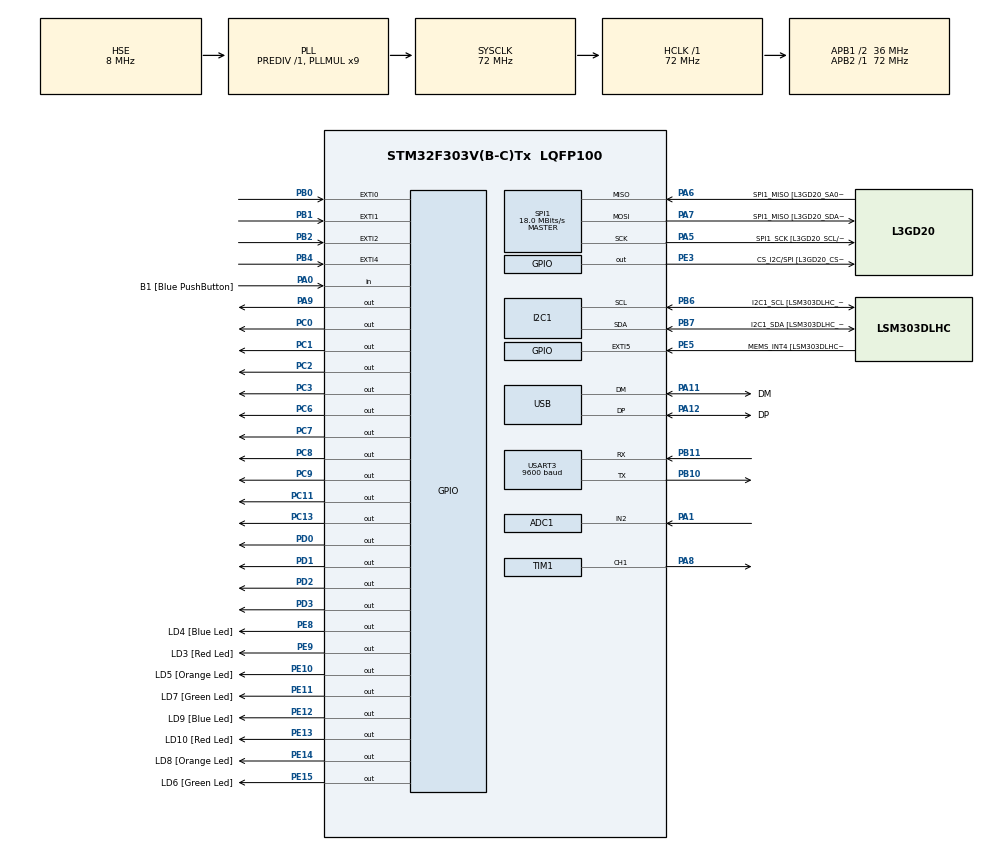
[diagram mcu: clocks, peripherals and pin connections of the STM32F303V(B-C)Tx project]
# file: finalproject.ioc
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ADC1.Channel-0\#ChannelRegularConversion=ADC_CHANNEL_2
ADC1.NbrOfConversionFlag=1
ADC1.Offset-0\#ChannelRegularConversion=0
ADC1.OffsetNumber-0\#ChannelRegularConversion=ADC_OFFSET_NONE
ADC1.Rank-0\#ChannelRegularConversion=1
ADC1.Resolution=ADC_RESOLUTION_6B
ADC1.SamplingTime-0\#ChannelRegularConversion=ADC_SAMPLETIME_601CYCLES_5
ADC1.SamplingTimeOPAMP-0\#ChannelRegularConversion=ADC_SAMPLETIME_19CYCLES_5
ADC1.master=1
I2C1.Timing-I2C=0x2000090E
Mcu.Family=STM32F3
Mcu.Name=STM32F303V(B-C)Tx
Mcu.Package=LQFP100
NVIC.ADC1_2_IRQn=true\:1\:0\:true\:false\:true\:true\:true
NVIC.EXTI0_IRQn=true\:1\:0\:true\:false\:true\:true\:true
NVIC.EXTI1_IRQn=true\:1\:0\:true\:false\:true\:true\:true
NVIC.EXTI4_IRQn=true\:1\:0\:true\:false\:true\:true\:true
NVIC.PriorityGroup=NVIC_PRIORITYGROUP_1
NVIC.TIM2_IRQn=true\:1\:0\:true\:false\:true\:true\:true
NVIC.TIM3_IRQn=true\:1\:0\:true\:false\:true\:true\:true
NVIC.TIM4_IRQn=true\:1\:0\:true\:false\:true\:true\:true
NVIC.USART3_IRQn=true\:1\:0\:true\:false\:true\:true\:true
PA0.GPIO_Label=B1 [Blue PushButton]
PA0.Signal=GPIO_Input
PA1.Mode=IN2-Single-Ended
PA1.Signal=ADC1_IN2
PA11.GPIO_Label=DM
PA11.Mode=Device
PA11.Signal=USB_DM
PA12.GPIO_Label=DP
PA12.Mode=Device
PA12.Signal=USB_DP
PA13.GPIO_Label=SWDIO
PA13.Mode=Serial_Wire
PA13.Signal=SYS_JTMS-SWDIO
PA14.GPIO_Label=SWCLK
PA14.Mode=Serial_Wire
PA14.Signal=SYS_JTCK-SWCLK
PA5.GPIO_Label=SPI1_SCK [L3GD20_SCL/SPC]
PA5.Mode=Full_Duplex_Master
PA5.Signal=SPI1_SCK
PA6.GPIO_Label=SPI1_MISO [L3GD20_SA0/SDO]
PA6.Mode=Full_Duplex_Master
PA6.Signal=SPI1_MISO
PA7.GPIO_Label=SPI1_MISO [L3GD20_SDA/SDI/SDO]
PA7.Mode=Full_Duplex_Master
PA7.Signal=SPI1_MOSI
PA8.Signal=S_TIM1_CH1
PA9.Signal=GPIO_Output
PB0.GPIO_PuPd=GPIO_PULLDOWN
PB0.Signal=GPXTI0
PB1.GPIO_PuPd=GPIO_PULLDOWN
PB1.Signal=GPXTI1
PB10.Mode=Asynchronous
PB10.Signal=USART3_TX
PB11.Mode=Asynchronous
PB11.Signal=USART3_RX
PB2.GPIO_PuPd=GPIO_PULLDOWN
PB2.Signal=GPXTI2
PB3.GPIO_Label=SWO
PB3.Signal=SYS_JTDO-TRACESWO
PB4.GPIO_PuPd=GPIO_PULLDOWN
PB4.Signal=GPXTI4
PB6.GPIO_Label=I2C1_SCL [LSM303DLHC_SCL]
PB6.GPIO_Pu=GPIO_PULLUP
PB6.Mode=I2C
PB6.Signal=I2C1_SCL
PB7.GPIO_Label=I2C1_SDA [LSM303DLHC_SDA]
PB7.GPIO_Pu=GPIO_PULLUP
PB7.Mode=I2C
PB7.Signal=I2C1_SDA
PC0.Signal=GPIO_Output
PC1.Signal=GPIO_Output
PC11.Signal=GPIO_Output
PC13.Signal=GPIO_Output
PC14-OSC32_IN.GPIO_Label=OSC32_IN
PC14-OSC32_IN.Signal=RCC_OSC32_IN
PC15-OSC32_OUT.GPIO_Label=OSC32_OUT
PC15-OSC32_OUT.Signal=RCC_OSC32_OUT
PC2.Signal=GPIO_Output
PC3.Signal=GPIO_Output
PC6.Signal=GPIO_Output
PC7.Signal=GPIO_Output
PC8.Signal=GPIO_Output
PC9.Signal=GPIO_Output
PD0.Signal=GPIO_Output
PD1.Signal=GPIO_Output
PD2.Signal=GPIO_Output
PD3.Signal=GPIO_Output
PE10.GPIO_Label=LD5 [Orange Led]
PE10.Signal=GPIO_Output
PE11.GPIO_Label=LD7 [Green Led]
PE11.Signal=GPIO_Output
PE12.GPIO_Label=LD9 [Blue Led]
PE12.Signal=GPIO_Output
PE13.GPIO_Label=LD10 [Red Led]
PE13.Signal=GPIO_Output
PE14.GPIO_Label=LD8 [Orange Led]
PE14.Signal=GPIO_Output
PE15.GPIO_Label=LD6 [Green Led]
PE15.Signal=GPIO_Output
PE3.GPIO_Label=CS_I2C/SPI [L3GD20_CS_I2C/SPI]
PE3.Signal=GPIO_Output
PE5.GPIO_Label=MEMS_INT4 [LSM303DLHC_INT2]
PE5.GPIO_ModeDefaultEXTI=GPIO_MODE_EVT_RISING
PE5.Signal=GPXTI5
PE8.GPIO_Label=LD4 [Blue Led]
PE8.Signal=GPIO_Output
PE9.GPIO_Label=LD3 [Red Led]
PE9.Signal=GPIO_Output
PF0-OSC_IN.GPIO_Label=OSC_IN
PF0-OSC_IN.Mode=HSE-External-Clock-Source
PF0-OSC_IN.Signal=RCC_OSC_IN
PF1-OSC_OUT.GPIO_Label=OSC_OUT
PF1-OSC_OUT.Signal=RCC_OSC_OUT
ProjectManager.HeapSize=0x200
ProjectManager.StackSize=0x400
ProjectManager.TargetToolchain=STM32CubeIDE
RCC.AHBFreq_Value=72000000
RCC.APB1CLKDivider=RCC_HCLK_DIV2
RCC.APB1Freq_Value=36000000
RCC.APB1TimFreq_Value=72000000
RCC.APB2Freq_Value=72000000
RCC.APB2TimFreq_Value=72000000
RCC.CortexFreq_Value=72000000
RCC.HCLKFreq_Value=72000000
RCC.HSE_VALUE=8000000
RCC.HSI_VALUE=8000000
RCC.LSE_VALUE=32768
RCC.PLLMUL=RCC_PLL_MUL9
RCC.PRESCALERUSB=RCC_USBCLKSOURCE_PLL_DIV1_5
RCC.SYSCLKFreq_VALUE=72000000
RCC.SYSCLKSourceVirtual=RCC_SYSCLKSOURCE_PLLCLK
RCC.USBFreq_Value=48000000
SH.S_TIM1_CH1.0=TIM1_CH1,PWM Generation1 CH1
SPI1.BaudRatePrescaler=SPI_BAUDRATEPRESCALER_4
SPI1.BaudRatePrescaler-Full_Duplex_Master=SPI_BAUDRATEPRESCALER_2
SPI1.CalculateBaudRate=18.0 MBits/s
SPI1.CalculateBaudRate-Full_Duplex_Master=24.0 MBits/s
SPI1.Direction=SPI_DIRECTION_2LINES
SPI1.Mode=SPI_MODE_MASTER
SPI1.Mode-Full_Duplex_Master=SPI_MODE_MASTER
SPI1.VirtualType=VM_MASTER
TIM1.Channel-PWM\ Generation1\ CH1=TIM_CHANNEL_1
TIM1.Period=99
TIM1.Prescaler=7199
TIM2.Period=999
TIM2.Prescaler=287
TIM3.Period=9999
TIM3.Prescaler=7199
TIM4.Period=9999
TIM4.Prescaler=7199
USART3.BaudRate=9600
USART3.VirtualMode-Asynchronous=VM_ASYNC
VP_TIM1_VS_ClockSourceINT.Mode=Internal
VP_TIM2_VS_ClockSourceINT.Mode=Internal
VP_TIM3_VS_ClockSourceINT.Mode=Internal
VP_TIM4_VS_ClockSourceINT.Mode=Internal
board=STM32F3DISCOVERY

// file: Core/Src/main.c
/* USER CODE BEGIN Header */
/**
  ******************************************************************************
  * @file           : main.c
  * @brief          : Main program body
  ******************************************************************************
  * @attention
  *
  * <h2><center>&copy; Copyright (c) 2022 STMicroelectronics.
  * All rights reserved.</center></h2>
  *
  * This software component is licensed by ST under BSD 3-Clause license,
  * the "License"; You may not use this file except in compliance with the
  * License. You may obtain a copy of the License at:
  *                        opensource.org/licenses/BSD-3-Clause
  *
  ******************************************************************************
  */
/* USER CODE END Header */
#include "main.h"

/* USER CODE BEGIN Includes */

#include "OthelloLib.h"
#include "LiquidCrystal.h"
#include "stm32f3xx_it.h"

/* USER CODE END Includes */

ADC_HandleTypeDef hadc1;

I2C_HandleTypeDef hi2c1;

SPI_HandleTypeDef hspi1;

TIM_HandleTypeDef htim1;
TIM_HandleTypeDef htim2;
TIM_HandleTypeDef htim3;
TIM_HandleTypeDef htim4;

UART_HandleTypeDef huart3;

PCD_HandleTypeDef hpcd_USB_FS;

/* USER CODE BEGIN PV */

int state = 0;
int last_push = 0;
int board[8][8];
//2 stands for black, 1 for white
int turn = 2;
int pointer_row = 3;
int pointer_col = 3;
char curr_position[2];

/* USER CODE END PV */

void SystemClock_Config(void);
static void MX_GPIO_Init(void);
static void MX_I2C1_Init(void);
static void MX_SPI1_Init(void);
static void MX_USB_PCD_Init(void);
static void MX_ADC1_Init(void);
static void MX_TIM1_Init(void);
static void MX_TIM2_Init(void);
static void MX_TIM4_Init(void);
static void MX_USART3_UART_Init(void);
static void MX_TIM3_Init(void);

/* USER CODE BEGIN 0 */

extern int time_limit;
extern int remaining_time;
extern unsigned char move_command[4];
typedef unsigned char byte;

byte white_white[] = {
  0x04,
  0x0A,
  0x11,
  0x0E,
  0x04,
  0x0A,
  0x11,
  0x0E
};

byte white_black[] = {
  0x04,
  0x0A,
  0x11,
  0x0E,
  0x04,
  0x0E,
  0x1F,
  0x0E
};

byte black_black[] = {
  0x04,
  0x0E,
  0x1F,
  0x0E,
  0x04,
  0x0E,
  0x1F,
  0x0E
};

byte black_white[] = {
  0x04,
  0x0E,
  0x1F,
  0x0E,
  0x04,
  0x0A,
  0x11,
  0x0E
};

byte black_blank[] = {
  0x04,
  0x0E,
  0x1F,
  0x0E,
  0x00,
  0x00,
  0x00,
  0x00
};

byte blank_black[] = {
  0x00,
  0x00,
  0x00,
  0x00,
  0x04,
  0x0E,
  0x1F,
  0x0E
};

byte white_blank[] = {
  0x04,
  0x0A,
  0x11,
  0x0E,
  0x00,
  0x00,
  0x00,
  0x00
};

byte blank_white[] = {
  0x00,
  0x00,
  0x00,
  0x00,
  0x04,
  0x0A,
  0x11,
  0x0E
};

void HAL_GPIO_EXTI_Callback(uint16_t GPIO_Pin){

	if(HAL_GetTick()<last_push+200){
	  	  return;
	}

	last_push = HAL_GetTick();

	setCursor(0, 0);
	if(GPIO_Pin == GPIO_PIN_0){
		HAL_GPIO_WritePin(GPIOD, GPIO_PIN_3, GPIO_PIN_RESET);
		HAL_GPIO_WritePin(GPIOD, GPIO_PIN_2, GPIO_PIN_RESET);
		HAL_GPIO_WritePin(GPIOD, GPIO_PIN_1, GPIO_PIN_RESET);
		HAL_GPIO_WritePin(GPIOD, GPIO_PIN_0, GPIO_PIN_RESET);

		//Checking which row it was
		HAL_GPIO_WritePin(GPIOD, GPIO_PIN_3, GPIO_PIN_SET);
		//checking if number was 1
		if(HAL_GPIO_ReadPin(GPIOB, GPIO_PIN_0)){

			return;
		}

		HAL_GPIO_WritePin(GPIOD, GPIO_PIN_2, GPIO_PIN_SET);
		//checking if button was LEFT
		if(HAL_GPIO_ReadPin(GPIOB, GPIO_PIN_0)){

			if(state==0){

			}else if(state==1){

				if((pointer_col - 1)>=0){
					pointer_col--;
					curr_position[0] = col_num_to_letter(pointer_col);
					setCursor(4, 3);
					print(curr_position);
					char dat[10];
					sprintf(dat, "%d,%d",pointer_col, pointer_row);
					setCursor(0,3);
					print(dat);
				}

			}

			return;
		}

		HAL_GPIO_WritePin(GPIOD, GPIO_PIN_1, GPIO_PIN_SET);
		//checking if number was 7
		if(HAL_GPIO_ReadPin(GPIOB, GPIO_PIN_0)){

			return;
		}

		HAL_GPIO_WritePin(GPIOD, GPIO_PIN_0, GPIO_PIN_SET);
		//checking if number was *
		if(HAL_GPIO_ReadPin(GPIOB, GPIO_PIN_0)){

			if(state==0){
				state = 1;
				clear();
				init_map(board);
				//0 stands for empty cells, 1 for white cells and 2 for black cells.
				board[3][3] = 1;
				board[3][4] = 2;
				board[4][3] = 2;
				board[4][4] = 1;
				remaining_time = time_limit;
				HAL_TIM_Base_Start_IT(&htim4);
				HAL_UART_Receive_IT(&huart3, move_command, sizeof(unsigned char)*4);
			}

			return;
		}

	}else if(GPIO_Pin == GPIO_PIN_1){
		HAL_GPIO_WritePin(GPIOD, GPIO_PIN_3, GPIO_PIN_RESET);
		HAL_GPIO_WritePin(GPIOD, GPIO_PIN_2, GPIO_PIN_RESET);
		HAL_GPIO_WritePin(GPIOD, GPIO_PIN_1, GPIO_PIN_RESET);
		HAL_GPIO_WritePin(GPIOD, GPIO_PIN_0, GPIO_PIN_RESET);

		HAL_GPIO_WritePin(GPIOD, GPIO_PIN_3, GPIO_PIN_SET);
		//checking if button was UP
		if(HAL_GPIO_ReadPin(GPIOB, GPIO_PIN_1)){

			if(state==0){

			}else if(state==1){

				if((pointer_row - 1)>=0){
					pointer_row--;
					curr_position[1] = row_num_to_char(pointer_row);
					setCursor(4, 3);
					print(curr_position);
					char dat[10];
					sprintf(dat, "%d,%d",pointer_col, pointer_row);
					setCursor(0,3);
					print(dat);

				}

			}
			return;
		}

		HAL_GPIO_WritePin(GPIOD, GPIO_PIN_2, GPIO_PIN_SET);
		//checking if button was select
		if(HAL_GPIO_ReadPin(GPIOB, GPIO_PIN_1)){

			if(state==0){

			}else if(state==1){

				if(isValid(pointer_row, pointer_col, turn)){
					capture(pointer_row, pointer_col, turn);
					print_board();
					show_scores();
					if(switch_turns()){
						state = 3;
						game_over();
						return;
					}
					if(board_is_full()){
						state = 3;
						game_over();
						return;
					}
				}else{
					illegal_move_alert();
				}

			}

			return;
		}

		HAL_GPIO_WritePin(GPIOD, GPIO_PIN_1, GPIO_PIN_SET);
		//checking if button was DOWN
		if(HAL_GPIO_ReadPin(GPIOB, GPIO_PIN_1)){

			if(state==0){

			}else if(state==1){

				if((pointer_row + 1)<8){
					pointer_row++;
					curr_position[1] = row_num_to_char(pointer_row);
					setCursor(4, 3);
					print(curr_position);
					char dat[10];
					sprintf(dat, "%d,%d",pointer_col, pointer_row);
					setCursor(0,3);
					print(dat);
				}

			}

			return;
		}

		HAL_GPIO_WritePin(GPIOD, GPIO_PIN_0, GPIO_PIN_SET);
		//checking if number was 11
		if(HAL_GPIO_ReadPin(GPIOB, GPIO_PIN_1)){

			return;
		}

	}else if(GPIO_Pin == GPIO_PIN_2){
		HAL_GPIO_WritePin(GPIOD, GPIO_PIN_3, GPIO_PIN_RESET);
		HAL_GPIO_WritePin(GPIOD, GPIO_PIN_2, GPIO_PIN_RESET);
		HAL_GPIO_WritePin(GPIOD, GPIO_PIN_1, GPIO_PIN_RESET);
		HAL_GPIO_WritePin(GPIOD, GPIO_PIN_0, GPIO_PIN_RESET);

		HAL_GPIO_WritePin(GPIOD, GPIO_PIN_3, GPIO_PIN_SET);
		//checking if number was 3
		if(HAL_GPIO_ReadPin(GPIOB, GPIO_PIN_2)){

			return;
		}

		HAL_GPIO_WritePin(GPIOD, GPIO_PIN_2, GPIO_PIN_SET);
		//checking if button was 6
		if(HAL_GPIO_ReadPin(GPIOB, GPIO_PIN_2)){

			return;
		}

		HAL_GPIO_WritePin(GPIOD, GPIO_PIN_1, GPIO_PIN_SET);
		//checking if number was 9
		if(HAL_GPIO_ReadPin(GPIOB, GPIO_PIN_2)){

			return;
		}

		HAL_GPIO_WritePin(GPIOD, GPIO_PIN_0, GPIO_PIN_SET);
		//checking if number was 12
		if(HAL_GPIO_ReadPin(GPIOB, GPIO_PIN_2)){

			return;
		}

	}else if(GPIO_Pin == GPIO_PIN_4){
		HAL_GPIO_WritePin(GPIOD, GPIO_PIN_3, GPIO_PIN_RESET);
		HAL_GPIO_WritePin(GPIOD, GPIO_PIN_2, GPIO_PIN_RESET);
		HAL_GPIO_WritePin(GPIOD, GPIO_PIN_1, GPIO_PIN_RESET);
		HAL_GPIO_WritePin(GPIOD, GPIO_PIN_0, GPIO_PIN_RESET);

		HAL_GPIO_WritePin(GPIOD, GPIO_PIN_3, GPIO_PIN_SET);
		//checking if number was 13
		if(HAL_GPIO_ReadPin(GPIOB, GPIO_PIN_4)){

			return;
		}

		HAL_GPIO_WritePin(GPIOD, GPIO_PIN_2, GPIO_PIN_SET);
		//checking if button was RIGHT
		if(HAL_GPIO_ReadPin(GPIOB, GPIO_PIN_4)){

			if(state==0){

			}else if(state==1){

				if((pointer_col + 1)<8){
					pointer_col++;
					curr_position[0] = col_num_to_letter(pointer_col);
					setCursor(4, 3);
					print(curr_position);
					char dat[10];
					sprintf(dat, "%d,%d",pointer_col, pointer_row);
					setCursor(0,3);
					print(dat);

				}

			}

			return;
		}

		HAL_GPIO_WritePin(GPIOD, GPIO_PIN_1, GPIO_PIN_SET);
		//checking if number was 15
		if(HAL_GPIO_ReadPin(GPIOB, GPIO_PIN_4)){

			return;
		}

		HAL_GPIO_WritePin(GPIOD, GPIO_PIN_0, GPIO_PIN_SET);
		//checking if number was 16
		if(HAL_GPIO_ReadPin(GPIOB, GPIO_PIN_4)){

			if(state==0){

			}
			return;
		}

	}

}

/* USER CODE END 0 */

int main(void)
{

  /* MCU Configuration--------------------------------------------------------*/

  /* Reset of all peripherals, Initializes the Flash interface and the Systick. */
  HAL_Init();

  /* Configure the system clock */
  SystemClock_Config();

  /* Initialize all configured peripherals */
  MX_GPIO_Init();
  MX_I2C1_Init();
  MX_SPI1_Init();
  MX_USB_PCD_Init();
  MX_ADC1_Init();
  MX_TIM1_Init();
  MX_TIM2_Init();
  MX_TIM4_Init();
  MX_USART3_UART_Init();
  MX_TIM3_Init();
  /* USER CODE BEGIN 2 */

  HAL_ADC_Start_IT(&hadc1);
  LiquidCrystal(GPIOD, GPIO_PIN_8, GPIO_PIN_9, GPIO_PIN_10, GPIO_PIN_11, GPIO_PIN_12, GPIO_PIN_13, GPIO_PIN_14);

  createChar(0, black_black);
  createChar(1, black_blank);
  createChar(2, blank_black);
  createChar(3, white_black);
  createChar(4, black_white);
  createChar(5, white_blank);
  createChar(6, blank_white);
  createChar(7, white_white);

  begin(20,4);

  setCursor(0, 0);

  print("othello");
  setCursor(0, 1);
  print("Soroosh Faal");
  setCursor(0, 2);
  print("press * to start");

  HAL_GPIO_WritePin(GPIOA, GPIO_PIN_9, 0);
  PWM_Change_Tone(3000, 500);

  last_push = HAL_GetTick();
  HAL_TIM_Base_Start_IT(&htim2);

  //empty the board
  for(int i=0;i<8;i++){
	  for(int j=0;j<8;j++){
		  board[i][j] = 0;
	  }
  }

  //initialize current position
  curr_position[0] = 'D';
  curr_position[1] = '4';

  /* USER CODE END 2 */

  /* Infinite loop */
  while (1)
  {

  }
}

void SystemClock_Config(void)
{
  RCC_OscInitTypeDef RCC_OscInitStruct = {0};
  RCC_ClkInitTypeDef RCC_ClkInitStruct = {0};
  RCC_PeriphCLKInitTypeDef PeriphClkInit = {0};

  /** Initializes the RCC Oscillators according to the specified parameters
  * in the RCC_OscInitTypeDef structure.
  */
  RCC_OscInitStruct.OscillatorType = RCC_OSCILLATORTYPE_HSI|RCC_OSCILLATORTYPE_HSE;
  RCC_OscInitStruct.HSEState = RCC_HSE_BYPASS;
  RCC_OscInitStruct.HSEPredivValue = RCC_HSE_PREDIV_DIV1;
  RCC_OscInitStruct.HSIState = RCC_HSI_ON;
  RCC_OscInitStruct.HSICalibrationValue = RCC_HSICALIBRATION_DEFAULT;
  RCC_OscInitStruct.PLL.PLLState = RCC_PLL_ON;
  RCC_OscInitStruct.PLL.PLLSource = RCC_PLLSOURCE_HSE;
  RCC_OscInitStruct.PLL.PLLMUL = RCC_PLL_MUL9;
  if (HAL_RCC_OscConfig(&RCC_OscInitStruct) != HAL_OK)
  {
    Error_Handler();
  }
  /** Initializes the CPU, AHB and APB buses clocks
  */
  RCC_ClkInitStruct.ClockType = RCC_CLOCKTYPE_HCLK|RCC_CLOCKTYPE_SYSCLK
                              |RCC_CLOCKTYPE_PCLK1|RCC_CLOCKTYPE_PCLK2;
  RCC_ClkInitStruct.SYSCLKSource = RCC_SYSCLKSOURCE_PLLCLK;
  RCC_ClkInitStruct.AHBCLKDivider = RCC_SYSCLK_DIV1;
  RCC_ClkInitStruct.APB1CLKDivider = RCC_HCLK_DIV2;
  RCC_ClkInitStruct.APB2CLKDivider = RCC_HCLK_DIV1;

  if (HAL_RCC_ClockConfig(&RCC_ClkInitStruct, FLASH_LATENCY_2) != HAL_OK)
  {
    Error_Handler();
  }
  PeriphClkInit.PeriphClockSelection = RCC_PERIPHCLK_USB|RCC_PERIPHCLK_USART3
                              |RCC_PERIPHCLK_I2C1|RCC_PERIPHCLK_TIM1
                              |RCC_PERIPHCLK_ADC12;
  PeriphClkInit.Usart3ClockSelection = RCC_USART3CLKSOURCE_PCLK1;
  PeriphClkInit.Adc12ClockSelection = RCC_ADC12PLLCLK_DIV1;
  PeriphClkInit.I2c1ClockSelection = RCC_I2C1CLKSOURCE_HSI;
  PeriphClkInit.USBClockSelection = RCC_USBCLKSOURCE_PLL_DIV1_5;
  PeriphClkInit.Tim1ClockSelection = RCC_TIM1CLK_HCLK;
  if (HAL_RCCEx_PeriphCLKConfig(&PeriphClkInit) != HAL_OK)
  {
    Error_Handler();
  }
}

static void MX_ADC1_Init(void)
{

  ADC_MultiModeTypeDef multimode = {0};
  ADC_ChannelConfTypeDef sConfig = {0};

  /** Common config
  */
  hadc1.Instance = ADC1;
  hadc1.Init.ClockPrescaler = ADC_CLOCK_ASYNC_DIV1;
  hadc1.Init.Resolution = ADC_RESOLUTION_6B;
  hadc1.Init.ScanConvMode = ADC_SCAN_DISABLE;
  hadc1.Init.ContinuousConvMode = DISABLE;
  hadc1.Init.DiscontinuousConvMode = DISABLE;
  hadc1.Init.ExternalTrigConvEdge = ADC_EXTERNALTRIGCONVEDGE_NONE;
  hadc1.Init.ExternalTrigConv = ADC_SOFTWARE_START;
  hadc1.Init.DataAlign = ADC_DATAALIGN_RIGHT;
  hadc1.Init.NbrOfConversion = 1;
  hadc1.Init.DMAContinuousRequests = DISABLE;
  hadc1.Init.EOCSelection = ADC_EOC_SINGLE_CONV;
  hadc1.Init.LowPowerAutoWait = DISABLE;
  hadc1.Init.Overrun = ADC_OVR_DATA_OVERWRITTEN;
  if (HAL_ADC_Init(&hadc1) != HAL_OK)
  {
    Error_Handler();
  }
  /** Configure the ADC multi-mode
  */
  multimode.Mode = ADC_MODE_INDEPENDENT;
  if (HAL_ADCEx_MultiModeConfigChannel(&hadc1, &multimode) != HAL_OK)
  {
    Error_Handler();
  }
  /** Configure Regular Channel
  */
  sConfig.Channel = ADC_CHANNEL_2;
  sConfig.Rank = ADC_REGULAR_RANK_1;
  sConfig.SingleDiff = ADC_SINGLE_ENDED;
  sConfig.SamplingTime = ADC_SAMPLETIME_601CYCLES_5;
  sConfig.OffsetNumber = ADC_OFFSET_NONE;
  sConfig.Offset = 0;
  if (HAL_ADC_ConfigChannel(&hadc1, &sConfig) != HAL_OK)
  {
    Error_Handler();
  }

}

static void MX_I2C1_Init(void)
{

  hi2c1.Instance = I2C1;
  hi2c1.Init.Timing = 0x2000090E;
  hi2c1.Init.OwnAddress1 = 0;
  hi2c1.Init.AddressingMode = I2C_ADDRESSINGMODE_7BIT;
  hi2c1.Init.DualAddressMode = I2C_DUALADDRESS_DISABLE;
  hi2c1.Init.OwnAddress2 = 0;
  hi2c1.Init.OwnAddress2Masks = I2C_OA2_NOMASK;
  hi2c1.Init.GeneralCallMode = I2C_GENERALCALL_DISABLE;
  hi2c1.Init.NoStretchMode = I2C_NOSTRETCH_DISABLE;
  if (HAL_I2C_Init(&hi2c1) != HAL_OK)
  {
    Error_Handler();
  }
  /** Configure Analogue filter
  */
  if (HAL_I2CEx_ConfigAnalogFilter(&hi2c1, I2C_ANALOGFILTER_ENABLE) != HAL_OK)
  {
    Error_Handler();
  }
  /** Configure Digital filter
  */
  if (HAL_I2CEx_ConfigDigitalFilter(&hi2c1, 0) != HAL_OK)
  {
    Error_Handler();
  }

}

static void MX_SPI1_Init(void)
{

  /* SPI1 parameter configuration*/
  hspi1.Instance = SPI1;
  hspi1.Init.Mode = SPI_MODE_MASTER;
  hspi1.Init.Direction = SPI_DIRECTION_2LINES;
  hspi1.Init.DataSize = SPI_DATASIZE_4BIT;
  hspi1.Init.CLKPolarity = SPI_POLARITY_LOW;
  hspi1.Init.CLKPhase = SPI_PHASE_1EDGE;
  hspi1.Init.NSS = SPI_NSS_SOFT;
  hspi1.Init.BaudRatePrescaler = SPI_BAUDRATEPRESCALER_4;
  hspi1.Init.FirstBit = SPI_FIRSTBIT_MSB;
  hspi1.Init.TIMode = SPI_TIMODE_DISABLE;
  hspi1.Init.CRCCalculation = SPI_CRCCALCULATION_DISABLE;
  hspi1.Init.CRCPolynomial = 7;
  hspi1.Init.CRCLength = SPI_CRC_LENGTH_DATASIZE;
  hspi1.Init.NSSPMode = SPI_NSS_PULSE_ENABLE;
  if (HAL_SPI_Init(&hspi1) != HAL_OK)
  {
    Error_Handler();
  }

}

static void MX_TIM1_Init(void)
{

  TIM_ClockConfigTypeDef sClockSourceConfig = {0};
  TIM_MasterConfigTypeDef sMasterConfig = {0};
  TIM_OC_InitTypeDef sConfigOC = {0};
  TIM_BreakDeadTimeConfigTypeDef sBreakDeadTimeConfig = {0};

  htim1.Instance = TIM1;
  htim1.Init.Prescaler = 7199;
  htim1.Init.CounterMode = TIM_COUNTERMODE_UP;
  htim1.Init.Period = 99;
  htim1.Init.ClockDivision = TIM_CLOCKDIVISION_DIV1;
  htim1.Init.RepetitionCounter = 0;
  htim1.Init.AutoReloadPreload = TIM_AUTORELOAD_PRELOAD_DISABLE;
  if (HAL_TIM_Base_Init(&htim1) != HAL_OK)
  {
    Error_Handler();
  }
  sClockSourceConfig.ClockSource = TIM_CLOCKSOURCE_INTERNAL;
  if (HAL_TIM_ConfigClockSource(&htim1, &sClockSourceConfig) != HAL_OK)
  {
    Error_Handler();
  }
  if (HAL_TIM_PWM_Init(&htim1) != HAL_OK)
  {
    Error_Handler();
  }
  sMasterConfig.MasterOutputTrigger = TIM_TRGO_RESET;
  sMasterConfig.MasterOutputTrigger2 = TIM_TRGO2_RESET;
  sMasterConfig.MasterSlaveMode = TIM_MASTERSLAVEMODE_DISABLE;
  if (HAL_TIMEx_MasterConfigSynchronization(&htim1, &sMasterConfig) != HAL_OK)
  {
    Error_Handler();
  }
  sConfigOC.OCMode = TIM_OCMODE_PWM1;
  sConfigOC.Pulse = 0;
  sConfigOC.OCPolarity = TIM_OCPOLARITY_HIGH;
  sConfigOC.OCNPolarity = TIM_OCNPOLARITY_HIGH;
  sConfigOC.OCFastMode = TIM_OCFAST_DISABLE;
  sConfigOC.OCIdleState = TIM_OCIDLESTATE_RESET;
  sConfigOC.OCNIdleState = TIM_OCNIDLESTATE_RESET;
  if (HAL_TIM_PWM_ConfigChannel(&htim1, &sConfigOC, TIM_CHANNEL_1) != HAL_OK)
  {
    Error_Handler();
  }
  sBreakDeadTimeConfig.OffStateRunMode = TIM_OSSR_DISABLE;
  sBreakDeadTimeConfig.OffStateIDLEMode = TIM_OSSI_DISABLE;
  sBreakDeadTimeConfig.LockLevel = TIM_LOCKLEVEL_OFF;
  sBreakDeadTimeConfig.DeadTime = 0;
  sBreakDeadTimeConfig.BreakState = TIM_BREAK_DISABLE;
  sBreakDeadTimeConfig.BreakPolarity = TIM_BREAKPOLARITY_HIGH;
  sBreakDeadTimeConfig.BreakFilter = 0;
  sBreakDeadTimeConfig.Break2State = TIM_BREAK2_DISABLE;
  sBreakDeadTimeConfig.Break2Polarity = TIM_BREAK2POLARITY_HIGH;
  sBreakDeadTimeConfig.Break2Filter = 0;
  sBreakDeadTimeConfig.AutomaticOutput = TIM_AUTOMATICOUTPUT_DISABLE;
  if (HAL_TIMEx_ConfigBreakDeadTime(&htim1, &sBreakDeadTimeConfig) != HAL_OK)
  {
    Error_Handler();
  }
  HAL_TIM_MspPostInit(&htim1);

}

static void MX_TIM2_Init(void)
{

  TIM_ClockConfigTypeDef sClockSourceConfig = {0};
  TIM_MasterConfigTypeDef sMasterConfig = {0};

  htim2.Instance = TIM2;
  htim2.Init.Prescaler = 287;
  htim2.Init.CounterMode = TIM_COUNTERMODE_UP;
  htim2.Init.Period = 999;
  htim2.Init.ClockDivision = TIM_CLOCKDIVISION_DIV1;
  htim2.Init.AutoReloadPreload = TIM_AUTORELOAD_PRELOAD_DISABLE;
  if (HAL_TIM_Base_Init(&htim2) != HAL_OK)
  {
    Error_Handler();
  }
  sClockSourceConfig.ClockSource = TIM_CLOCKSOURCE_INTERNAL;
  if (HAL_TIM_ConfigClockSource(&htim2, &sClockSourceConfig) != HAL_OK)
  {
    Error_Handler();
  }
  sMasterConfig.MasterOutputTrigger = TIM_TRGO_RESET;
  sMasterConfig.MasterSlaveMode = TIM_MASTERSLAVEMODE_DISABLE;
  if (HAL_TIMEx_MasterConfigSynchronization(&htim2, &sMasterConfig) != HAL_OK)
  {
    Error_Handler();
  }

}

static void MX_TIM3_Init(void)
{

  TIM_ClockConfigTypeDef sClockSourceConfig = {0};
  TIM_MasterConfigTypeDef sMasterConfig = {0};

  htim3.Instance = TIM3;
  htim3.Init.Prescaler = 7199;
  htim3.Init.CounterMode = TIM_COUNTERMODE_UP;
  htim3.Init.Period = 9999;
  htim3.Init.ClockDivision = TIM_CLOCKDIVISION_DIV1;
  htim3.Init.AutoReloadPreload = TIM_AUTORELOAD_PRELOAD_DISABLE;
  if (HAL_TIM_Base_Init(&htim3) != HAL_OK)
  {
    Error_Handler();
  }
  sClockSourceConfig.ClockSource = TIM_CLOCKSOURCE_INTERNAL;
  if (HAL_TIM_ConfigClockSource(&htim3, &sClockSourceConfig) != HAL_OK)
  {
    Error_Handler();
  }
  sMasterConfig.MasterOutputTrigger = TIM_TRGO_RESET;
  sMasterConfig.MasterSlaveMode = TIM_MASTERSLAVEMODE_DISABLE;
  if (HAL_TIMEx_MasterConfigSynchronization(&htim3, &sMasterConfig) != HAL_OK)
  {
    Error_Handler();
  }

}

static void MX_TIM4_Init(void)
{

  TIM_ClockConfigTypeDef sClockSourceConfig = {0};
  TIM_MasterConfigTypeDef sMasterConfig = {0};

  htim4.Instance = TIM4;
  htim4.Init.Prescaler = 7199;
  htim4.Init.CounterMode = TIM_COUNTERMODE_UP;
  htim4.Init.Period = 9999;
  htim4.Init.ClockDivision = TIM_CLOCKDIVISION_DIV1;
  htim4.Init.AutoReloadPreload = TIM_AUTORELOAD_PRELOAD_DISABLE;
  if (HAL_TIM_Base_Init(&htim4) != HAL_OK)
  {
    Error_Handler();
  }
  sClockSourceConfig.ClockSource = TIM_CLOCKSOURCE_INTERNAL;
  if (HAL_TIM_ConfigClockSource(&htim4, &sClockSourceConfig) != HAL_OK)
  {
    Error_Handler();
  }
  sMasterConfig.MasterOutputTrigger = TIM_TRGO_RESET;
  sMasterConfig.MasterSlaveMode = TIM_MASTERSLAVEMODE_DISABLE;
  if (HAL_TIMEx_MasterConfigSynchronization(&htim4, &sMasterConfig) != HAL_OK)
  {
    Error_Handler();
  }

}

static void MX_USART3_UART_Init(void)
{

  huart3.Instance = USART3;
  huart3.Init.BaudRate = 9600;
  huart3.Init.WordLength = UART_WORDLENGTH_8B;
  huart3.Init.StopBits = UART_STOPBITS_1;
  huart3.Init.Parity = UART_PARITY_NONE;
  huart3.Init.Mode = UART_MODE_TX_RX;
  huart3.Init.HwFlowCtl = UART_HWCONTROL_NONE;
  huart3.Init.OverSampling = UART_OVERSAMPLING_16;
  huart3.Init.OneBitSampling = UART_ONE_BIT_SAMPLE_DISABLE;
  huart3.AdvancedInit.AdvFeatureInit = UART_ADVFEATURE_NO_INIT;
  if (HAL_UART_Init(&huart3) != HAL_OK)
  {
    Error_Handler();
  }

}

static void MX_USB_PCD_Init(void)
{

  hpcd_USB_FS.Instance = USB;
  hpcd_USB_FS.Init.dev_endpoints = 8;
  hpcd_USB_FS.Init.speed = PCD_SPEED_FULL;
  hpcd_USB_FS.Init.phy_itface = PCD_PHY_EMBEDDED;
  hpcd_USB_FS.Init.low_power_enable = DISABLE;
  hpcd_USB_FS.Init.battery_charging_enable = DISABLE;
  if (HAL_PCD_Init(&hpcd_USB_FS) != HAL_OK)
  {
    Error_Handler();
  }

}

static void MX_GPIO_Init(void)
{
  GPIO_InitTypeDef GPIO_InitStruct = {0};

  /* GPIO Ports Clock Enable */
  __HAL_RCC_GPIOE_CLK_ENABLE();
  __HAL_RCC_GPIOC_CLK_ENABLE();
  __HAL_RCC_GPIOF_CLK_ENABLE();
  __HAL_RCC_GPIOA_CLK_ENABLE();
  __HAL_RCC_GPIOB_CLK_ENABLE();
  __HAL_RCC_GPIOD_CLK_ENABLE();

  /*Configure GPIO pin Output Level */
  HAL_GPIO_WritePin(GPIOE, CS_I2C_SPI_Pin|LD4_Pin|LD3_Pin|LD5_Pin
                          |LD7_Pin|LD9_Pin|LD10_Pin|LD8_Pin
                          |LD6_Pin, GPIO_PIN_RESET);

  /*Configure GPIO pin Output Level */
  HAL_GPIO_WritePin(GPIOC, GPIO_PIN_13|GPIO_PIN_0|GPIO_PIN_1|GPIO_PIN_2
                          |GPIO_PIN_3|GPIO_PIN_6|GPIO_PIN_7|GPIO_PIN_8
                          |GPIO_PIN_9|GPIO_PIN_11, GPIO_PIN_RESET);

  /*Configure GPIO pin Output Level */
  HAL_GPIO_WritePin(GPIOA, GPIO_PIN_9, GPIO_PIN_RESET);

  /*Configure GPIO pin Output Level */
  HAL_GPIO_WritePin(GPIOD, GPIO_PIN_0|GPIO_PIN_1|GPIO_PIN_2|GPIO_PIN_3, GPIO_PIN_RESET);

  /*Configure GPIO pins : CS_I2C_SPI_Pin LD4_Pin LD3_Pin LD5_Pin
                           LD7_Pin LD9_Pin LD10_Pin LD8_Pin
                           LD6_Pin */
  GPIO_InitStruct.Pin = CS_I2C_SPI_Pin|LD4_Pin|LD3_Pin|LD5_Pin
                          |LD7_Pin|LD9_Pin|LD10_Pin|LD8_Pin
                          |LD6_Pin;
  GPIO_InitStruct.Mode = GPIO_MODE_OUTPUT_PP;
  GPIO_InitStruct.Pull = GPIO_NOPULL;
  GPIO_InitStruct.Speed = GPIO_SPEED_FREQ_LOW;
  HAL_GPIO_Init(GPIOE, &GPIO_InitStruct);

  /*Configure GPIO pin : MEMS_INT4_Pin */
  GPIO_InitStruct.Pin = MEMS_INT4_Pin;
  GPIO_InitStruct.Mode = GPIO_MODE_EVT_RISING;
  GPIO_InitStruct.Pull = GPIO_NOPULL;
  HAL_GPIO_Init(MEMS_INT4_GPIO_Port, &GPIO_InitStruct);

  /*Configure GPIO pins : PC13 PC0 PC1 PC2
                           PC3 PC6 PC7 PC8
                           PC9 PC11 */
  GPIO_InitStruct.Pin = GPIO_PIN_13|GPIO_PIN_0|GPIO_PIN_1|GPIO_PIN_2
                          |GPIO_PIN_3|GPIO_PIN_6|GPIO_PIN_7|GPIO_PIN_8
                          |GPIO_PIN_9|GPIO_PIN_11;
  GPIO_InitStruct.Mode = GPIO_MODE_OUTPUT_PP;
  GPIO_InitStruct.Pull = GPIO_NOPULL;
  GPIO_InitStruct.Speed = GPIO_SPEED_FREQ_LOW;
  HAL_GPIO_Init(GPIOC, &GPIO_InitStruct);

  /*Configure GPIO pin : B1_Pin */
  GPIO_InitStruct.Pin = B1_Pin;
  GPIO_InitStruct.Mode = GPIO_MODE_INPUT;
  GPIO_InitStruct.Pull = GPIO_NOPULL;
  HAL_GPIO_Init(B1_GPIO_Port, &GPIO_InitStruct);

  /*Configure GPIO pins : PB0 PB1 PB2 PB4 */
  GPIO_InitStruct.Pin = GPIO_PIN_0|GPIO_PIN_1|GPIO_PIN_2|GPIO_PIN_4;
  GPIO_InitStruct.Mode = GPIO_MODE_IT_RISING;
  GPIO_InitStruct.Pull = GPIO_PULLDOWN;
  HAL_GPIO_Init(GPIOB, &GPIO_InitStruct);

  /*Configure GPIO pin : PA9 */
  GPIO_InitStruct.Pin = GPIO_PIN_9;
  GPIO_InitStruct.Mode = GPIO_MODE_OUTPUT_PP;
  GPIO_InitStruct.Pull = GPIO_NOPULL;
  GPIO_InitStruct.Speed = GPIO_SPEED_FREQ_LOW;
  HAL_GPIO_Init(GPIOA, &GPIO_InitStruct);

  /*Configure GPIO pins : PD0 PD1 PD2 PD3 */
  GPIO_InitStruct.Pin = GPIO_PIN_0|GPIO_PIN_1|GPIO_PIN_2|GPIO_PIN_3;
  GPIO_InitStruct.Mode = GPIO_MODE_OUTPUT_PP;
  GPIO_InitStruct.Pull = GPIO_NOPULL;
  GPIO_InitStruct.Speed = GPIO_SPEED_FREQ_LOW;
  HAL_GPIO_Init(GPIOD, &GPIO_InitStruct);

  /* EXTI interrupt init*/
  HAL_NVIC_SetPriority(EXTI0_IRQn, 1, 0);
  HAL_NVIC_EnableIRQ(EXTI0_IRQn);

  HAL_NVIC_SetPriority(EXTI1_IRQn, 1, 0);
  HAL_NVIC_EnableIRQ(EXTI1_IRQn);

  HAL_NVIC_SetPriority(EXTI4_IRQn, 1, 0);
  HAL_NVIC_EnableIRQ(EXTI4_IRQn);

}

void Error_Handler(void)
{
  __disable_irq();
  while (1)
  {
  }
}

/************************ (C) COPYRIGHT STMicroelectronics *****END OF FILE****/
